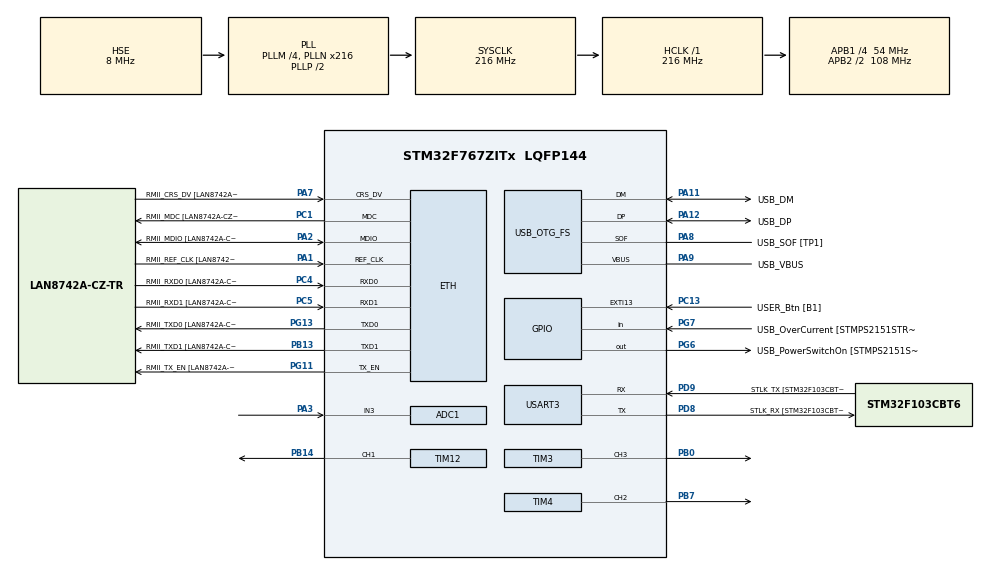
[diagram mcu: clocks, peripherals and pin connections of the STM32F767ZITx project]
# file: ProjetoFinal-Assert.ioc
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ADC1.Channel-0\#ChannelRegularConversion=ADC_CHANNEL_3
ADC1.NbrOfConversionFlag=1
ADC1.Rank-0\#ChannelRegularConversion=1
ADC1.SamplingTime-0\#ChannelRegularConversion=ADC_SAMPLETIME_3CYCLES
ADC1.master=1
CORTEX_M7.default_mode_Activation=1
ETH.MediaInterface=HAL_ETH_RMII_MODE
ETH.PHY_Name=LAN8742A_PHY_ADDRESS
ETH.PHY_Value=0
ETH.PhyAddress=0
Mcu.Family=STM32F7
Mcu.Name=STM32F767ZITx
Mcu.Package=LQFP144
NVIC.EXTI15_10_IRQn=true\:0\:0\:false\:false\:true\:true\:true\:true
NVIC.PriorityGroup=NVIC_PRIORITYGROUP_4
NVIC.TIM6_DAC_IRQn=true\:0\:0\:false\:false\:true\:true\:true\:true
NVIC.TIM7_IRQn=true\:0\:0\:false\:false\:true\:true\:true\:true
PA1.GPIO_Label=RMII_REF_CLK [LAN8742A-CZ-TR_REFCLK0]
PA1.Mode=RMII
PA1.Signal=ETH_REF_CLK
PA10.GPIO_Label=USB_ID
PA10.Signal=USB_OTG_FS_ID
PA11.GPIO_Label=USB_DM
PA11.Mode=Device_Only
PA11.Signal=USB_OTG_FS_DM
PA12.GPIO_Label=USB_DP
PA12.Mode=Device_Only
PA12.Signal=USB_OTG_FS_DP
PA13.GPIO_Label=TMS
PA13.Mode=Serial_Wire
PA13.Signal=SYS_JTMS-SWDIO
PA14.GPIO_Label=TCK
PA14.Mode=Serial_Wire
PA14.Signal=SYS_JTCK-SWCLK
PA2.GPIO_Label=RMII_MDIO [LAN8742A-CZ-TR_MDIO]
PA2.Mode=RMII
PA2.Signal=ETH_MDIO
PA3.Signal=ADCx_IN3
PA7.GPIO_Label=RMII_CRS_DV [LAN8742A-CZ-TR_CRS_DV]
PA7.Mode=RMII
PA7.Signal=ETH_CRS_DV
PA8.GPIO_Label=USB_SOF [TP1]
PA8.Mode=Activate_SOF_FS
PA8.Signal=USB_OTG_FS_SOF
PA9.GPIO_Label=USB_VBUS
PA9.Mode=Activate_VBUS
PA9.Signal=USB_OTG_FS_VBUS
PB0.Signal=S_TIM3_CH3
PB13.GPIO_Label=RMII_TXD1 [LAN8742A-CZ-TR_TXD1]
PB13.Mode=RMII
PB13.Signal=ETH_TXD1
PB14.Signal=S_TIM12_CH1
PB3.GPIO_Label=SWO
PB3.Signal=SYS_JTDO-SWO
PB7.Signal=S_TIM4_CH2
PC1.GPIO_Label=RMII_MDC [LAN8742A-CZ-TR_MDC]
PC1.Mode=RMII
PC1.Signal=ETH_MDC
PC13.GPIO_Label=USER_Btn [B1]
PC13.Signal=GPXTI13
PC14/OSC32_IN.Mode=LSE-External-Oscillator
PC14/OSC32_IN.Signal=RCC_OSC32_IN
PC15/OSC32_OUT.Mode=LSE-External-Oscillator
PC15/OSC32_OUT.Signal=RCC_OSC32_OUT
PC4.GPIO_Label=RMII_RXD0 [LAN8742A-CZ-TR_RXD0]
PC4.Mode=RMII
PC4.Signal=ETH_RXD0
PC5.GPIO_Label=RMII_RXD1 [LAN8742A-CZ-TR_RXD1]
PC5.Mode=RMII
PC5.Signal=ETH_RXD1
PD8.GPIO_Label=STLK_RX [STM32F103CBT6_PA3]
PD8.Mode=Asynchronous
PD8.Signal=USART3_TX
PD9.GPIO_Label=STLK_TX [STM32F103CBT6_PA2]
PD9.Mode=Asynchronous
PD9.Signal=USART3_RX
PG11.GPIO_Label=RMII_TX_EN [LAN8742A-CZ-TR_TXEN]
PG11.Mode=RMII
PG11.Signal=ETH_TX_EN
PG13.GPIO_Label=RMII_TXD0 [LAN8742A-CZ-TR_TXD0]
PG13.Mode=RMII
PG13.Signal=ETH_TXD0
PG6.GPIO_Label=USB_PowerSwitchOn [STMPS2151STR_EN]
PG6.Signal=GPIO_Output
PG7.GPIO_Label=USB_OverCurrent [STMPS2151STR_FAULT]
PG7.Signal=GPIO_Input
PH0/OSC_IN.GPIO_Label=MCO [STM32F103CBT6_PA8]
PH0/OSC_IN.Mode=HSE-External-Clock-Source
PH0/OSC_IN.Signal=RCC_OSC_IN
PH1/OSC_OUT.Mode=HSE-External-Clock-Source
PH1/OSC_OUT.Signal=RCC_OSC_OUT
ProjectManager.HeapSize=0x200
ProjectManager.StackSize=0x400
ProjectManager.TargetToolchain=STM32CubeIDE
RCC.48MHZClocksFreq_Value=24000000
RCC.AHBFreq_Value=216000000
RCC.APB1CLKDivider=RCC_HCLK_DIV4
RCC.APB1Freq_Value=54000000
RCC.APB1TimFreq_Value=108000000
RCC.APB2CLKDivider=RCC_HCLK_DIV2
RCC.APB2Freq_Value=108000000
RCC.APB2TimFreq_Value=216000000
RCC.CortexFreq_Value=216000000
RCC.HCLKFreq_Value=216000000
RCC.HSE_VALUE=8000000
RCC.HSI_VALUE=16000000
RCC.PLLM=4
RCC.PLLMUL=RCC_PLL_MUL9
RCC.PLLN=216
RCC.PLLQ=9
RCC.PRESCALERUSB=RCC_USBCLKSOURCE_PLL_DIV1_5
RCC.SYSCLKFreq_VALUE=216000000
RCC.SYSCLKSource=RCC_SYSCLKSOURCE_PLLCLK
RCC.SYSCLKSourceVirtual=RCC_SYSCLKSOURCE_PLLCLK
RCC.USBFreq_Value=48000000
RCC.VCOOutputFreq_Value=432000000
SH.ADCx_IN3.0=ADC1_IN3,IN3
SH.S_TIM12_CH1.0=TIM12_CH1,PWM Generation1 CH1
SH.S_TIM3_CH3.0=TIM3_CH3,PWM Generation3 CH3
SH.S_TIM4_CH2.0=TIM4_CH2,PWM Generation2 CH2
TIM12.Channel-PWM\ Generation1\ CH1=TIM_CHANNEL_1
TIM12.Period=999
TIM12.Prescaler=107
TIM3.Channel-PWM\ Generation3\ CH3=TIM_CHANNEL_3
TIM3.Period=999
TIM3.Prescaler=107
TIM4.Channel-PWM\ Generation2\ CH2=TIM_CHANNEL_2
TIM4.Period=999
TIM4.Prescaler=107
TIM6.Period=4999
TIM6.Prescaler=107
TIM7.Prescaler=107
USART3.VirtualMode-Asynchronous=VM_ASYNC
USB_OTG_FS.VirtualMode=Device_Only
VP_TIM6_VS_ClockSourceINT.Mode=Enable_Timer
VP_TIM7_VS_ClockSourceINT.Mode=Enable_Timer
board=NUCLEO-F767ZI

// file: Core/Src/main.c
/* USER CODE BEGIN Header */
/**
  ******************************************************************************
  * @file           : main.c
  * @brief          : Main program body
  ******************************************************************************
  * @attention
  *
  * Copyright (c) 2026 STMicroelectronics.
  * All rights reserved.
  *
  * This software is licensed under terms that can be found in the LICENSE file
  * in the root directory of this software component.
  * If no LICENSE file comes with this software, it is provided AS-IS.
  *
  ******************************************************************************
  */
/* USER CODE END Header */
#include "main.h"
#include "adc.h"
#include "eth.h"
#include "tim.h"
#include "usart.h"
#include "usb_otg.h"
#include "gpio.h"

/* USER CODE BEGIN Includes */
#include "Bsp.h"
#include "Sampler.h"
#include "LedPwm.h"
#include "SerialCmd.h"
#include "Button.h"
/* USER CODE END Includes */

void SystemClock_Config(void);
static void MPU_Config(void);

int main(void)
{

  /* MPU Configuration--------------------------------------------------------*/
  MPU_Config();

  /* MCU Configuration--------------------------------------------------------*/

  /* Reset of all peripherals, Initializes the Flash interface and the Systick. */
  HAL_Init();

  /* Configure the system clock */
  SystemClock_Config();

  /* Initialize all configured peripherals */
  MX_GPIO_Init();
  MX_ADC1_Init();
  MX_ETH_Init();
  MX_TIM3_Init();
  MX_TIM4_Init();
  MX_TIM6_Init();
  MX_TIM7_Init();
  MX_TIM12_Init();
  MX_USART3_UART_Init();
  MX_USB_OTG_FS_PCD_Init();
  /* USER CODE BEGIN 2 */
  Bsp_Init();
  Sampler_Init();
  LedPwm_Init();
  SerialCmd_Init();
  Button_Init();
  /* USER CODE END 2 */

  /* Infinite loop */
  while (1)
  {

    /* USER CODE BEGIN 3 */
    if (!Button_IsFrozen()) {
        Sampler_Routine();
        LedPwm_Routine();
    }

    SerialCmd_Routine();
    Button_Routine();

    /* Delega a impressao periodica de 1s para o modulo especialista */
    SerialCmd_PrintStatus1Hz();
  }
  /* USER CODE END 3 */
}

void SystemClock_Config(void)
{
  RCC_OscInitTypeDef RCC_OscInitStruct = {0};
  RCC_ClkInitTypeDef RCC_ClkInitStruct = {0};

  /** Configure LSE Drive Capability
  */
  HAL_PWR_EnableBkUpAccess();

  /** Configure the main internal regulator output voltage
  */
  __HAL_RCC_PWR_CLK_ENABLE();
  __HAL_PWR_VOLTAGESCALING_CONFIG(PWR_REGULATOR_VOLTAGE_SCALE1);

  /** Initializes the RCC Oscillators according to the specified parameters
  * in the RCC_OscInitTypeDef structure.
  */
  RCC_OscInitStruct.OscillatorType = RCC_OSCILLATORTYPE_HSE;
  RCC_OscInitStruct.HSEState = RCC_HSE_BYPASS;
  RCC_OscInitStruct.PLL.PLLState = RCC_PLL_ON;
  RCC_OscInitStruct.PLL.PLLSource = RCC_PLLSOURCE_HSE;
  RCC_OscInitStruct.PLL.PLLM = 4;
  RCC_OscInitStruct.PLL.PLLN = 216;
  RCC_OscInitStruct.PLL.PLLP = RCC_PLLP_DIV2;
  RCC_OscInitStruct.PLL.PLLQ = 9;
  RCC_OscInitStruct.PLL.PLLR = 2;
  if (HAL_RCC_OscConfig(&RCC_OscInitStruct) != HAL_OK)
  {
    Error_Handler();
  }

  /** Activate the Over-Drive mode
  */
  if (HAL_PWREx_EnableOverDrive() != HAL_OK)
  {
    Error_Handler();
  }

  /** Initializes the CPU, AHB and APB buses clocks
  */
  RCC_ClkInitStruct.ClockType = RCC_CLOCKTYPE_HCLK|RCC_CLOCKTYPE_SYSCLK
                              |RCC_CLOCKTYPE_PCLK1|RCC_CLOCKTYPE_PCLK2;
  RCC_ClkInitStruct.SYSCLKSource = RCC_SYSCLKSOURCE_PLLCLK;
  RCC_ClkInitStruct.AHBCLKDivider = RCC_SYSCLK_DIV1;
  RCC_ClkInitStruct.APB1CLKDivider = RCC_HCLK_DIV4;
  RCC_ClkInitStruct.APB2CLKDivider = RCC_HCLK_DIV2;

  if (HAL_RCC_ClockConfig(&RCC_ClkInitStruct, FLASH_LATENCY_7) != HAL_OK)
  {
    Error_Handler();
  }
}

 /* MPU Configuration */

void MPU_Config(void)
{
  MPU_Region_InitTypeDef MPU_InitStruct = {0};

  /* Disables the MPU */
  HAL_MPU_Disable();

  /** Initializes and configures the Region and the memory to be protected
  */
  MPU_InitStruct.Enable = MPU_REGION_ENABLE;
  MPU_InitStruct.Number = MPU_REGION_NUMBER0;
  MPU_InitStruct.BaseAddress = 0x0;
  MPU_InitStruct.Size = MPU_REGION_SIZE_4GB;
  MPU_InitStruct.SubRegionDisable = 0x87;
  MPU_InitStruct.TypeExtField = MPU_TEX_LEVEL0;
  MPU_InitStruct.AccessPermission = MPU_REGION_NO_ACCESS;
  MPU_InitStruct.DisableExec = MPU_INSTRUCTION_ACCESS_DISABLE;
  MPU_InitStruct.IsShareable = MPU_ACCESS_SHAREABLE;
  MPU_InitStruct.IsCacheable = MPU_ACCESS_NOT_CACHEABLE;
  MPU_InitStruct.IsBufferable = MPU_ACCESS_NOT_BUFFERABLE;

  HAL_MPU_ConfigRegion(&MPU_InitStruct);
  /* Enables the MPU */
  HAL_MPU_Enable(MPU_PRIVILEGED_DEFAULT);

}

void Error_Handler(void)
{
  __disable_irq();
  while (1)
  {
  }
}
